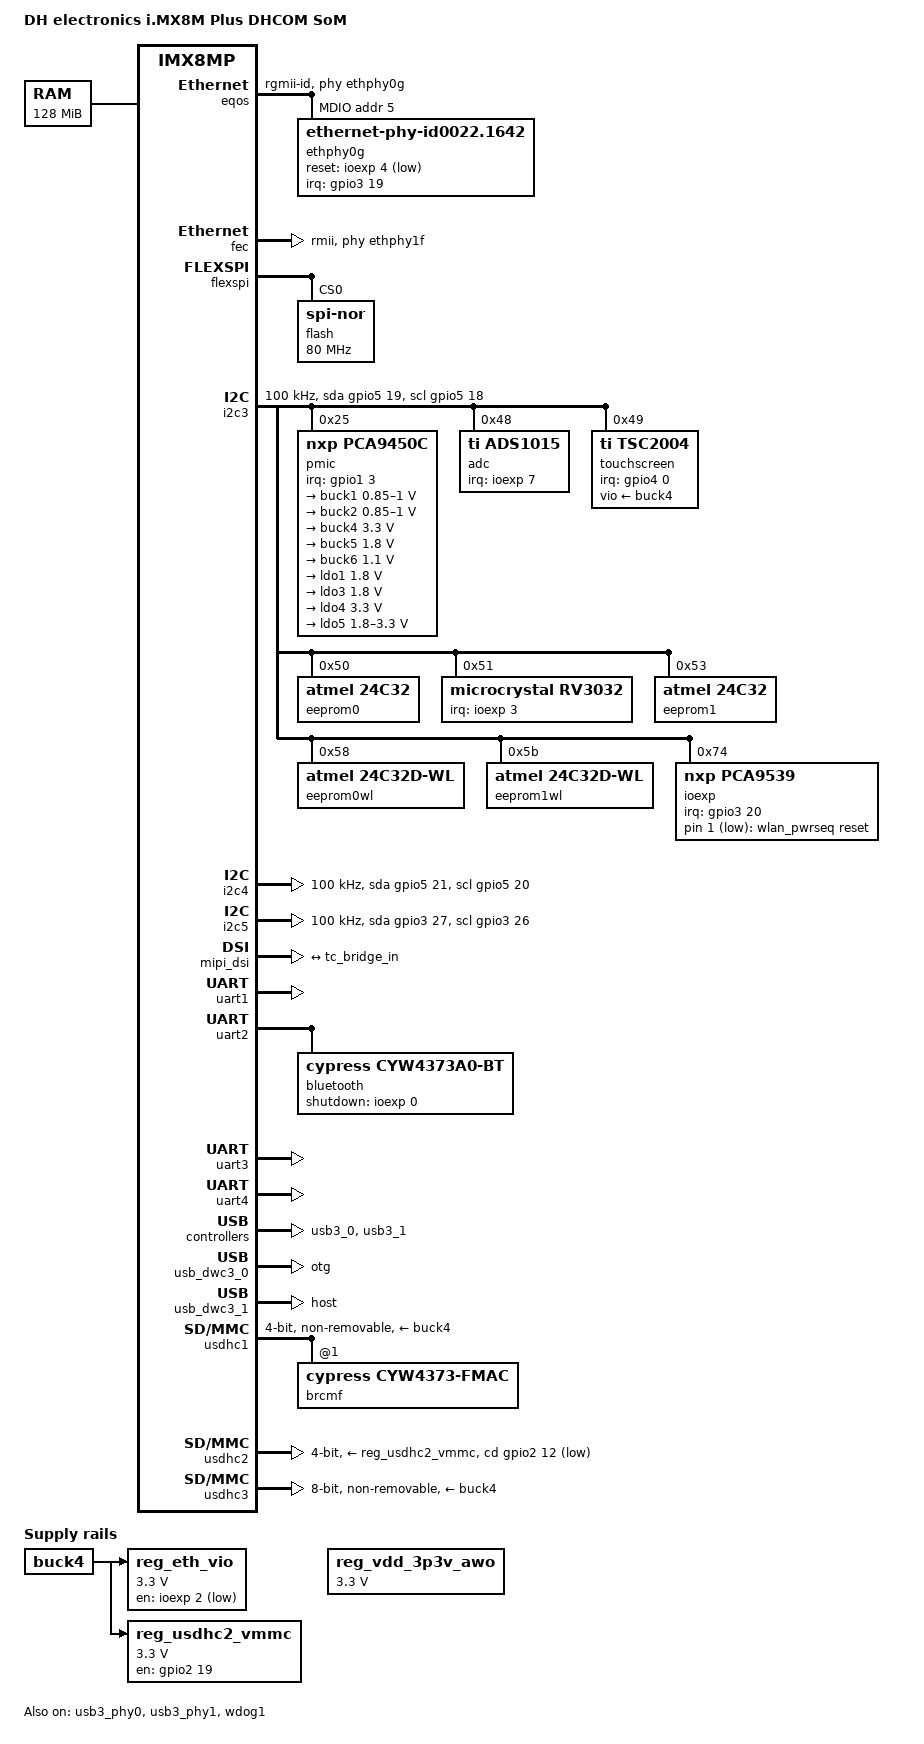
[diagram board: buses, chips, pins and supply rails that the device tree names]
// SPDX-License-Identifier: GPL-2.0
/*
 * Copyright (C) 2021-2022 Marek Vasut <marex@denx.de>
 */

#include "imx8mp.dtsi"

/ {
	model = "DH electronics i.MX8M Plus DHCOM SoM";
	compatible = "dh,imx8mp-dhcom-som", "fsl,imx8mp";

	aliases {
		ethernet0 = &eqos;
		ethernet1 = &fec;
		rtc0 = &rv3032;
		rtc1 = &snvs_rtc;
		spi0 = &flexspi;
	};

	memory@40000000 {
		device_type = "memory";
		/* Memory size 512 MiB..8 GiB will be filled by U-Boot */
		reg = <0x0 0x40000000 0 0x08000000>;
	};

	reg_eth_vio: regulator-eth-vio {
		compatible = "regulator-fixed";
		gpio = <&ioexp 2 GPIO_ACTIVE_LOW>;
		regulator-always-on;
		regulator-boot-on;
		regulator-min-microvolt = <3300000>;
		regulator-max-microvolt = <3300000>;
		regulator-name = "eth_vio";
		vin-supply = <&buck4>;
	};

	reg_usdhc2_vmmc: regulator-usdhc2-vmmc {
		compatible = "regulator-fixed";
		enable-active-high;
		gpio = <&gpio2 19 0>; /* SD2_RESET */
		off-on-delay-us = <12000>;
		pinctrl-names = "default";
		pinctrl-0 = <&pinctrl_usdhc2_vmmc>;
		regulator-max-microvolt = <3300000>;
		regulator-min-microvolt = <3300000>;
		regulator-name = "VDD_3V3_SD";
		startup-delay-us = <100>;
		vin-supply = <&buck4>;
	};

	reg_vdd_3p3v_awo: regulator-vdd-3p3v-awo {	/* VDD_3V3_AWO */
		compatible = "regulator-fixed";
		regulator-always-on;
		regulator-min-microvolt = <3300000>;
		regulator-max-microvolt = <3300000>;
		regulator-name = "VDD_3P3V_AWO";
	};

	wlan_pwrseq: wifi-pwrseq {
		compatible = "mmc-pwrseq-simple";
		reset-gpios = <&ioexp 1 GPIO_ACTIVE_LOW>;
	};
};

&A53_0 {
	cpu-supply = <&buck2>;
};

&A53_1 {
	cpu-supply = <&buck2>;
};

&A53_2 {
	cpu-supply = <&buck2>;
};

&A53_3 {
	cpu-supply = <&buck2>;
};

&ecspi1 {
	pinctrl-names = "default";
	pinctrl-0 = <&pinctrl_ecspi1>;
	cs-gpios = <&gpio5 17 GPIO_ACTIVE_LOW>;
	status = "disabled";
};

&ecspi2 {
	pinctrl-names = "default";
	pinctrl-0 = <&pinctrl_ecspi2>;
	cs-gpios = <&gpio5 13 GPIO_ACTIVE_LOW>;
	status = "disabled";
};

&eqos {	/* First ethernet */
	pinctrl-names = "default";
	pinctrl-0 = <&pinctrl_eqos_rgmii>;
	phy-handle = <&ethphy0g>;
	phy-mode = "rgmii-id";
	status = "okay";

	mdio {
		compatible = "snps,dwmac-mdio";
		#address-cells = <1>;
		#size-cells = <0>;

		/* Up to one of these two PHYs may be populated. */
		ethphy0f: ethernet-phy@0 { /* SMSC LAN8740Ai */
			compatible = "ethernet-phy-id0007.c110",
				     "ethernet-phy-ieee802.3-c22";
			interrupt-parent = <&gpio3>;
			interrupts = <19 IRQ_TYPE_LEVEL_LOW>;
			pinctrl-0 = <&pinctrl_ethphy0>;
			pinctrl-names = "default";
			reg = <0>;
			reset-assert-us = <1000>;
			reset-deassert-us = <1000>;
			reset-gpios = <&ioexp 4 GPIO_ACTIVE_LOW>;
			/* Non-default PHY population option. */
			status = "disabled";
		};

		ethphy0g: ethernet-phy@5 { /* Micrel KSZ9131RNXI */
			compatible = "ethernet-phy-id0022.1642",
				     "ethernet-phy-ieee802.3-c22";
			interrupt-parent = <&gpio3>;
			interrupts = <19 IRQ_TYPE_LEVEL_LOW>;
			micrel,led-mode = <0>;
			pinctrl-0 = <&pinctrl_ethphy0>;
			pinctrl-names = "default";
			reg = <5>;
			reset-assert-us = <1000>;
			reset-deassert-us = <1000>;
			reset-gpios = <&ioexp 4 GPIO_ACTIVE_LOW>;
			/* Default PHY population option. */
			status = "okay";
		};
	};
};

&fec {	/* Second ethernet */
	pinctrl-names = "default";
	pinctrl-0 = <&pinctrl_fec_rmii>;
	phy-handle = <&ethphy1f>;
	phy-mode = "rmii";
	fsl,magic-packet;
	status = "okay";

	mdio {
		#address-cells = <1>;
		#size-cells = <0>;

		/* Up to one PHY may be populated. */
		ethphy1f: ethernet-phy@1 { /* SMSC LAN8740Ai */
			compatible = "ethernet-phy-id0007.c110",
				     "ethernet-phy-ieee802.3-c22";
			interrupt-parent = <&gpio4>;
			interrupts = <3 IRQ_TYPE_LEVEL_LOW>;
			pinctrl-0 = <&pinctrl_ethphy1>;
			pinctrl-names = "default";
			reg = <1>;
			reset-assert-us = <1000>;
			reset-deassert-us = <1000>;
			reset-gpios = <&gpio4 2 GPIO_ACTIVE_LOW>;
			/* Non-default PHY population option. */
			status = "disabled";
		};
	};
};

&flexcan1 {
	pinctrl-names = "default";
	pinctrl-0 = <&pinctrl_flexcan1>;
	status = "disabled";
};

&flexcan2 {
	pinctrl-names = "default";
	pinctrl-0 = <&pinctrl_flexcan2>;
	status = "disabled";
};

&flexspi {
	pinctrl-names = "default";
	pinctrl-0 = <&pinctrl_flexspi>;
	status = "okay";

	flash@0 {	/* W25Q128JWPIM */
		compatible = "jedec,spi-nor";
		reg = <0>;
		spi-max-frequency = <80000000>;
		spi-tx-bus-width = <4>;
		spi-rx-bus-width = <4>;
	};
};

&gpio1 {
	gpio-line-names =
		"DHCOM-G", "", "", "", "", "DHCOM-I", "DHCOM-J", "DHCOM-L",
		"DHCOM-B", "DHCOM-A", "", "DHCOM-H", "", "", "", "",
		"", "", "", "", "", "", "", "",
		"", "", "", "", "", "", "", "";
};

&gpio2 {
	gpio-line-names =
		"", "", "", "", "", "", "", "",
		"", "", "", "DHCOM-K", "", "", "", "",
		"", "", "", "", "DHCOM-INT", "", "", "",
		"", "", "", "", "", "", "", "";
};

&gpio3 {
	gpio-line-names =
		"", "", "", "", "", "", "", "",
		"", "", "", "", "", "", "SOM-HW0", "",
		"", "", "", "", "", "", "SOM-MEM0", "SOM-MEM1",
		"SOM-MEM2", "SOM-HW2", "", "", "", "", "", "";
};

&gpio4 {
	gpio-line-names =
		"", "", "", "", "", "", "", "",
		"", "", "", "", "", "", "", "",
		"", "", "", "SOM-HW1", "", "", "", "",
		"", "", "", "DHCOM-D", "", "", "", "";
};

&gpio5 {
	gpio-line-names =
		"", "", "DHCOM-C", "", "", "", "", "",
		"", "", "", "", "", "", "", "",
		"", "", "", "", "", "", "DHCOM-E", "DHCOM-F",
		"", "", "", "", "", "", "", "";
};

&i2c3 {
	clock-frequency = <100000>;
	pinctrl-names = "default", "gpio";
	pinctrl-0 = <&pinctrl_i2c3>;
	pinctrl-1 = <&pinctrl_i2c3_gpio>;
	scl-gpios = <&gpio5 18 (GPIO_ACTIVE_HIGH | GPIO_OPEN_DRAIN)>;
	sda-gpios = <&gpio5 19 (GPIO_ACTIVE_HIGH | GPIO_OPEN_DRAIN)>;
	status = "okay";

	tc_bridge: bridge@f {
		compatible = "toshiba,tc9595", "toshiba,tc358767";
		pinctrl-names = "default";
		pinctrl-0 = <&pinctrl_tc9595>;
		reg = <0xf>;
		clock-names = "ref";
		clocks = <&clk IMX8MP_CLK_CLKOUT2>;
		assigned-clocks = <&clk IMX8MP_CLK_CLKOUT2_SEL>,
				  <&clk IMX8MP_CLK_CLKOUT2>,
				  <&clk IMX8MP_AUDIO_PLL2_OUT>;
		assigned-clock-parents = <&clk IMX8MP_AUDIO_PLL2_OUT>;
		assigned-clock-rates = <13000000>, <13000000>, <156000000>;
		reset-gpios = <&gpio3 21 GPIO_ACTIVE_HIGH>;
		status = "disabled";

		ports {
			#address-cells = <1>;
			#size-cells = <0>;

			port@0 {
				reg = <0>;

				tc_bridge_in: endpoint {
					data-lanes = <1 2 3 4>;
					remote-endpoint = <&dsi_out>;
				};
			};
		};
	};

	pmic: pmic@25 {
		compatible = "nxp,pca9450c";
		reg = <0x25>;
		pinctrl-names = "default";
		pinctrl-0 = <&pinctrl_pmic>;
		interrupt-parent = <&gpio1>;
		interrupts = <3 IRQ_TYPE_LEVEL_LOW>;

		/*
		 * i.MX 8M Plus Data Sheet for Consumer Products
		 * 3.1.4 Operating ranges
		 * MIMX8ML8CVNKZAB
		 */
		regulators {
			buck1: BUCK1 {	/* VDD_SOC (dual-phase with BUCK3) */
				regulator-min-microvolt = <850000>;
				regulator-max-microvolt = <1000000>;
				regulator-ramp-delay = <3125>;
				regulator-always-on;
				regulator-boot-on;
			};

			buck2: BUCK2 {	/* VDD_ARM */
				nxp,dvs-run-voltage = <950000>;
				nxp,dvs-standby-voltage = <850000>;
				regulator-min-microvolt = <850000>;
				regulator-max-microvolt = <1000000>;
				regulator-ramp-delay = <3125>;
				regulator-always-on;
				regulator-boot-on;
			};

			buck4: BUCK4 {	/* VDD_3V3 */
				regulator-min-microvolt = <3300000>;
				regulator-max-microvolt = <3300000>;
				regulator-always-on;
				regulator-boot-on;
			};

			buck5: BUCK5 {	/* VDD_1V8 */
				regulator-min-microvolt = <1800000>;
				regulator-max-microvolt = <1800000>;
				regulator-always-on;
				regulator-boot-on;
			};

			buck6: BUCK6 {	/* NVCC_DRAM_1V1 */
				regulator-min-microvolt = <1100000>;
				regulator-max-microvolt = <1100000>;
				regulator-always-on;
				regulator-boot-on;
			};

			ldo1: LDO1 {	/* NVCC_SNVS_1V8 */
				regulator-min-microvolt = <1800000>;
				regulator-max-microvolt = <1800000>;
				regulator-always-on;
				regulator-boot-on;
			};

			ldo3: LDO3 {	/* VDDA_1V8 */
				regulator-min-microvolt = <1800000>;
				regulator-max-microvolt = <1800000>;
				regulator-always-on;
				regulator-boot-on;
			};

			ldo4: LDO4 {	/* PMIC_LDO4 */
				regulator-min-microvolt = <3300000>;
				regulator-max-microvolt = <3300000>;
			};

			ldo5: LDO5 {	/* NVCC_SD2 */
				regulator-min-microvolt = <1800000>;
				regulator-max-microvolt = <3300000>;
			};
		};
	};

	adc@48 {
		compatible = "ti,ads1015";
		reg = <0x48>;
		interrupts-extended = <&ioexp 7 IRQ_TYPE_EDGE_FALLING>;
		#address-cells = <1>;
		#size-cells = <0>;

		channel@0 {	/* Voltage over AIN0 and AIN1. */
			reg = <0>;
		};

		channel@1 {	/* Voltage over AIN0 and AIN3. */
			reg = <1>;
		};

		channel@2 {	/* Voltage over AIN1 and AIN3. */
			reg = <2>;
		};

		channel@3 {	/* Voltage over AIN2 and AIN3. */
			reg = <3>;
		};

		channel@4 {	/* Voltage over AIN0 and GND. */
			reg = <4>;
		};

		channel@5 {	/* Voltage over AIN1 and GND. */
			reg = <5>;
		};

		channel@6 {	/* Voltage over AIN2 and GND. */
			reg = <6>;
		};

		channel@7 {	/* Voltage over AIN3 and GND. */
			reg = <7>;
		};
	};

	touchscreen@49 {
		compatible = "ti,tsc2004";
		reg = <0x49>;
		interrupts-extended = <&gpio4 0 IRQ_TYPE_EDGE_FALLING>;
		pinctrl-names = "default";
		pinctrl-0 = <&pinctrl_touch>;
		vio-supply = <&buck4>;
	};

	eeprom0: eeprom@50 {	/* EEPROM with EQoS MAC address */
		compatible = "atmel,24c32";	/* M24C32-D */
		pagesize = <32>;
		reg = <0x50>;
	};

	rv3032: rtc@51 {
		compatible = "microcrystal,rv3032";
		reg = <0x51>;
		interrupts-extended = <&ioexp 3 IRQ_TYPE_EDGE_FALLING>;
		wakeup-source;
	};

	eeprom1: eeprom@53 {	/* EEPROM with FEC MAC address */
		compatible = "atmel,24c32";	/* M24C32-D */
		pagesize = <32>;
		reg = <0x53>;
	};

	eeprom0wl: eeprom@58 {
		compatible = "atmel,24c32d-wl";	/* M24C32-D WL page of 0x50 */
		pagesize = <32>;
		reg = <0x58>;
	};

	eeprom1wl: eeprom@5b {
		compatible = "atmel,24c32d-wl";	/* M24C32-D WL page of 0x53 */
		pagesize = <32>;
		reg = <0x5b>;
	};

	ioexp: gpio@74 {
		compatible = "nxp,pca9539";
		reg = <0x74>;
		gpio-controller;
		#gpio-cells = <2>;
		interrupts-extended = <&gpio3 20 IRQ_TYPE_LEVEL_LOW>;
		interrupt-controller;
		#interrupt-cells = <2>;
		pinctrl-names = "default";
		pinctrl-0 = <&pinctrl_ioexp>;
		wakeup-source;

		gpio-line-names =
			"BT_REG_EN", "WL_REG_EN", "VIO_SWITCHED_#EN", "RTC_#INT",
			"ENET_QOS_#RST", "RGB_OSZ_ENABLE", "USB1_ID", "ADC_ALTER_RDY",
			"DHCOM-W", "DHCOM-V", "DHCOM-U", "DHCOM-T",
			"BT_HOST_WAKE", "BT_DEV_WAKE", "", "";
	};
};

&i2c4 {
	clock-frequency = <100000>;
	pinctrl-names = "default", "gpio";
	pinctrl-0 = <&pinctrl_i2c4>;
	pinctrl-1 = <&pinctrl_i2c4_gpio>;
	scl-gpios = <&gpio5 20 (GPIO_ACTIVE_HIGH | GPIO_OPEN_DRAIN)>;
	sda-gpios = <&gpio5 21 (GPIO_ACTIVE_HIGH | GPIO_OPEN_DRAIN)>;
	status = "okay";
};

&i2c5 {	/* HDMI EDID bus */
	clock-frequency = <100000>;
	pinctrl-names = "default", "gpio";
	pinctrl-0 = <&pinctrl_i2c5>;
	pinctrl-1 = <&pinctrl_i2c5_gpio>;
	scl-gpios = <&gpio3 26 (GPIO_ACTIVE_HIGH | GPIO_OPEN_DRAIN)>;
	sda-gpios = <&gpio3 27 (GPIO_ACTIVE_HIGH | GPIO_OPEN_DRAIN)>;
	status = "okay";
};

&mipi_dsi {
	samsung,burst-clock-frequency = <160000000>;
	samsung,esc-clock-frequency = <10000000>;

	ports {
		port@1 {
			reg = <1>;

			dsi_out: endpoint {
				data-lanes = <1 2 3 4>;
				remote-endpoint = <&tc_bridge_in>;
			};
		};
	};
};

&pwm1 {
	pinctrl-0 = <&pinctrl_pwm1>;
	pinctrl-names = "default";
	status = "disabled";
};

&uart1 {
	/* CA53 console */
	pinctrl-names = "default";
	pinctrl-0 = <&pinctrl_uart1>;
	status = "okay";
	wakeup-source;
};

&uart2 {
	/* Bluetooth */
	pinctrl-names = "default";
	pinctrl-0 = <&pinctrl_uart2>;
	uart-has-rtscts;
	status = "okay";

	/*
	 * PLL1 at 80 MHz supplies UART2 root with 80 MHz clock,
	 * which with 16x oversampling yields 5 Mbdps baud base,
	 * which can be well divided by 5/4 to achieve 4 Mbdps,
	 * which is exactly the maximum rate supported by muRata
	 * 2AE bluetooth UART.
	 */
	assigned-clocks = <&clk IMX8MP_CLK_UART2>;
	assigned-clock-parents = <&clk IMX8MP_SYS_PLL1_80M>;
	assigned-clock-rates = <80000000>;

	bluetooth {
		compatible = "cypress,cyw4373a0-bt";
		shutdown-gpios = <&ioexp 0 GPIO_ACTIVE_HIGH>;
		max-speed = <4000000>;
	};
};

&uart3 {
	pinctrl-names = "default";
	pinctrl-0 = <&pinctrl_uart3>;
	uart-has-rtscts;
	status = "okay";
};

&uart4 {
	pinctrl-names = "default";
	pinctrl-0 = <&pinctrl_uart4>;
	status = "okay";
};

&usb3_phy0 {
	status = "okay";
};

&usb3_0 {
	status = "okay";
};

&usb_dwc3_0 {
	dr_mode = "otg";
	status = "okay";
};

&usb3_phy1 {
	status = "okay";
};

&usb3_1 {
	status = "okay";
};

&usb_dwc3_1 {
	pinctrl-names = "default";
	pinctrl-0 = <&pinctrl_usb1_vbus>;
	dr_mode = "host";
	status = "okay";
};

/* SDIO WiFi */
&usdhc1 {
	pinctrl-names = "default", "state_100mhz", "state_200mhz";
	pinctrl-0 = <&pinctrl_usdhc1>;
	pinctrl-1 = <&pinctrl_usdhc1_100mhz>;
	pinctrl-2 = <&pinctrl_usdhc1_200mhz>;
	mmc-pwrseq = <&wlan_pwrseq>;
	vmmc-supply = <&buck4>;
	bus-width = <4>;
	non-removable;
	cap-power-off-card;
	keep-power-in-suspend;
	status = "okay";

	#address-cells = <1>;
	#size-cells = <0>;

	brcmf: bcrmf@1 {	/* muRata 2AE */
		reg = <1>;
		compatible = "cypress,cyw4373-fmac", "brcm,bcm4329-fmac";
		/*
		 * The "host-wake" interrupt output is by default not
		 * connected to the SoC, but can be connected on to
		 * SoC pin on the carrier board.
		 */
	};
};

/* SD slot */
&usdhc2 {
	pinctrl-names = "default", "state_100mhz", "state_200mhz";
	pinctrl-0 = <&pinctrl_usdhc2>, <&pinctrl_usdhc2_gpio>;
	pinctrl-1 = <&pinctrl_usdhc2_100mhz>, <&pinctrl_usdhc2_gpio>;
	pinctrl-2 = <&pinctrl_usdhc2_200mhz>, <&pinctrl_usdhc2_gpio>;
	cd-gpios = <&gpio2 12 GPIO_ACTIVE_LOW>;
	vmmc-supply = <&reg_usdhc2_vmmc>;
	bus-width = <4>;
	status = "okay";
};

/* eMMC */
&usdhc3 {
	pinctrl-names = "default", "state_100mhz", "state_200mhz";
	pinctrl-0 = <&pinctrl_usdhc3>;
	pinctrl-1 = <&pinctrl_usdhc3_100mhz>;
	pinctrl-2 = <&pinctrl_usdhc3_200mhz>;
	vmmc-supply = <&buck4>;
	vqmmc-supply = <&buck5>;
	bus-width = <8>;
	non-removable;
	status = "okay";
};

&wdog1 {
	pinctrl-names = "default";
	pinctrl-0 = <&pinctrl_wdog>;
	fsl,ext-reset-output;
	status = "okay";
};

&iomuxc {
	pinctrl-0 = <&pinctrl_hog_base
		     &pinctrl_dhcom_a &pinctrl_dhcom_b &pinctrl_dhcom_c
		     &pinctrl_dhcom_d &pinctrl_dhcom_e &pinctrl_dhcom_f
		     &pinctrl_dhcom_g &pinctrl_dhcom_h &pinctrl_dhcom_i
		     &pinctrl_dhcom_j &pinctrl_dhcom_k &pinctrl_dhcom_l
		     &pinctrl_dhcom_m &pinctrl_dhcom_n &pinctrl_dhcom_o
		     &pinctrl_dhcom_p &pinctrl_dhcom_q &pinctrl_dhcom_r
		     &pinctrl_dhcom_s &pinctrl_dhcom_int>;
	pinctrl-names = "default";

	pinctrl_dhcom_a: dhcom-a-grp {
		fsl,pins = <
			/* ENET_QOS_EVENT0-OUT */
			MX8MP_IOMUXC_GPIO1_IO09__GPIO1_IO09		0x2
		>;
	};

	pinctrl_dhcom_b: dhcom-b-grp {
		fsl,pins = <
			/* ENET_QOS_EVENT0-IN */
			MX8MP_IOMUXC_GPIO1_IO08__GPIO1_IO08		0x2
		>;
	};

	pinctrl_dhcom_c: dhcom-c-grp {
		fsl,pins = <
			/* GPIO_C */
			MX8MP_IOMUXC_SAI3_MCLK__GPIO5_IO02		0x2
		>;
	};

	pinctrl_dhcom_d: dhcom-d-grp {
		fsl,pins = <
			/* GPIO_D */
			MX8MP_IOMUXC_SAI2_MCLK__GPIO4_IO27		0x2
		>;
	};

	pinctrl_dhcom_e: dhcom-e-grp {
		fsl,pins = <
			/* GPIO_E */
			MX8MP_IOMUXC_UART1_RXD__GPIO5_IO22		0x2
		>;
	};

	pinctrl_dhcom_f: dhcom-f-grp {
		fsl,pins = <
			/* GPIO_F */
			MX8MP_IOMUXC_UART1_TXD__GPIO5_IO23		0x2
		>;
	};

	pinctrl_dhcom_g: dhcom-g-grp {
		fsl,pins = <
			/* GPIO_G */
			MX8MP_IOMUXC_GPIO1_IO00__GPIO1_IO00		0x2
		>;
	};

	pinctrl_dhcom_h: dhcom-h-grp {
		fsl,pins = <
			/* GPIO_H */
			MX8MP_IOMUXC_GPIO1_IO11__GPIO1_IO11		0x2
		>;
	};

	pinctrl_dhcom_i: dhcom-i-grp {
		fsl,pins = <
			/* CSI1_SYNC */
			MX8MP_IOMUXC_GPIO1_IO05__GPIO1_IO05		0x2
		>;
	};

	pinctrl_dhcom_j: dhcom-j-grp {
		fsl,pins = <
			/* CSIx_#RST */
			MX8MP_IOMUXC_GPIO1_IO06__GPIO1_IO06		0x2
		>;
	};

	pinctrl_dhcom_k: dhcom-k-grp {
		fsl,pins = <
			/* CSIx_PWDN */
			MX8MP_IOMUXC_SD1_STROBE__GPIO2_IO11		0x2
		>;
	};

	pinctrl_dhcom_l: dhcom-l-grp {
		fsl,pins = <
			/* CSI2_SYNC */
			MX8MP_IOMUXC_GPIO1_IO07__GPIO1_IO07		0x2
		>;
	};

	pinctrl_dhcom_m: dhcom-m-grp {
		fsl,pins = <
			/* CSIx_MCLK */
			MX8MP_IOMUXC_SPDIF_EXT_CLK__GPIO5_IO05		0x2
		>;
	};

	pinctrl_dhcom_n: dhcom-n-grp {
		fsl,pins = <
			/* CSI2_D3- */
			MX8MP_IOMUXC_SD1_DATA7__GPIO2_IO09		0x2
		>;
	};

	pinctrl_dhcom_o: dhcom-o-grp {
		fsl,pins = <
			/* CSI2_D3+ */
			MX8MP_IOMUXC_SD1_DATA6__GPIO2_IO08		0x2
		>;
	};

	pinctrl_dhcom_p: dhcom-p-grp {
		fsl,pins = <
			/* CSI2_D2- */
			MX8MP_IOMUXC_SD1_RESET_B__GPIO2_IO10		0x2
		>;
	};

	pinctrl_dhcom_q: dhcom-q-grp {
		fsl,pins = <
			/* CSI2_D2+ */
			MX8MP_IOMUXC_GPIO1_IO13__GPIO1_IO13		0x2
		>;
	};

	pinctrl_dhcom_r: dhcom-r-grp {
		fsl,pins = <
			/* CSI2_D1- */
			MX8MP_IOMUXC_GPIO1_IO12__GPIO1_IO12		0x2
		>;
	};

	pinctrl_dhcom_s: dhcom-s-grp {
		fsl,pins = <
			/* CSI2_D1+ */
			MX8MP_IOMUXC_GPIO1_IO10__GPIO1_IO10		0x2
		>;
	};

	pinctrl_dhcom_int: dhcom-int-grp {
		fsl,pins = <
			/* INT_HIGHEST_PRIO */
			MX8MP_IOMUXC_SD2_WP__GPIO2_IO20			0x2
		>;
	};

	pinctrl_hog_base: dhcom-hog-base-grp {
		fsl,pins = <
			/* GPIOs for memory coding */
			MX8MP_IOMUXC_SAI5_RXD1__GPIO3_IO22		0x40000080
			MX8MP_IOMUXC_SAI5_RXD2__GPIO3_IO23		0x40000080
			MX8MP_IOMUXC_SAI5_RXD3__GPIO3_IO24		0x40000080
			/* GPIOs for hardware coding */
			MX8MP_IOMUXC_NAND_DQS__GPIO3_IO14		0x40000080
			MX8MP_IOMUXC_SAI1_TXD7__GPIO4_IO19		0x40000080
			MX8MP_IOMUXC_SAI5_MCLK__GPIO3_IO25		0x40000080
		>;
	};

	pinctrl_ecspi1: dhcom-ecspi1-grp {
		fsl,pins = <
			MX8MP_IOMUXC_I2C1_SCL__ECSPI1_SCLK		0x44
			MX8MP_IOMUXC_I2C1_SDA__ECSPI1_MOSI		0x44
			MX8MP_IOMUXC_I2C2_SCL__ECSPI1_MISO		0x44
			MX8MP_IOMUXC_I2C2_SDA__GPIO5_IO17		0x40
		>;
	};

	pinctrl_ecspi2: dhcom-ecspi2-grp {
		fsl,pins = <
			MX8MP_IOMUXC_ECSPI2_SCLK__ECSPI2_SCLK		0x44
			MX8MP_IOMUXC_ECSPI2_MOSI__ECSPI2_MOSI		0x44
			MX8MP_IOMUXC_ECSPI2_MISO__ECSPI2_MISO		0x44
			MX8MP_IOMUXC_ECSPI2_SS0__GPIO5_IO13		0x40
		>;
	};

	pinctrl_eqos_rgmii: dhcom-eqos-rgmii-grp {	/* RGMII */
		fsl,pins = <
			MX8MP_IOMUXC_ENET_MDC__ENET_QOS_MDC		0x3
			MX8MP_IOMUXC_ENET_MDIO__ENET_QOS_MDIO		0x3
			MX8MP_IOMUXC_ENET_TX_CTL__ENET_QOS_RGMII_TX_CTL	0x1f
			MX8MP_IOMUXC_ENET_TXC__CCM_ENET_QOS_CLOCK_GENERATE_TX_CLK	0x1f
			MX8MP_IOMUXC_ENET_TD0__ENET_QOS_RGMII_TD0	0x1f
			MX8MP_IOMUXC_ENET_TD1__ENET_QOS_RGMII_TD1	0x1f
			MX8MP_IOMUXC_ENET_TD2__ENET_QOS_RGMII_TD2	0x1f
			MX8MP_IOMUXC_ENET_TD3__ENET_QOS_RGMII_TD3	0x1f
			MX8MP_IOMUXC_ENET_RXC__CCM_ENET_QOS_CLOCK_GENERATE_RX_CLK	0x91
			MX8MP_IOMUXC_ENET_RX_CTL__ENET_QOS_RGMII_RX_CTL	0x91
			MX8MP_IOMUXC_ENET_RD0__ENET_QOS_RGMII_RD0	0x91
			MX8MP_IOMUXC_ENET_RD1__ENET_QOS_RGMII_RD1	0x91
			MX8MP_IOMUXC_ENET_RD2__ENET_QOS_RGMII_RD2	0x91
			MX8MP_IOMUXC_ENET_RD3__ENET_QOS_RGMII_RD3	0x91
		>;
	};

	pinctrl_eqos_rmii: dhcom-eqos-rmii-grp {	/* RMII */
		fsl,pins = <
			MX8MP_IOMUXC_ENET_MDC__ENET_QOS_MDC		0x3
			MX8MP_IOMUXC_ENET_MDIO__ENET_QOS_MDIO		0x3
			MX8MP_IOMUXC_ENET_TX_CTL__ENET_QOS_RGMII_TX_CTL	0x1f
			MX8MP_IOMUXC_ENET_TD0__ENET_QOS_RGMII_TD0	0x1f
			MX8MP_IOMUXC_ENET_TD1__ENET_QOS_RGMII_TD1	0x1f
			MX8MP_IOMUXC_ENET_RXC__ENET_QOS_RX_ER		0x1f
			MX8MP_IOMUXC_ENET_RX_CTL__ENET_QOS_RGMII_RX_CTL	0x91
			MX8MP_IOMUXC_ENET_RD0__ENET_QOS_RGMII_RD0	0x91
			MX8MP_IOMUXC_ENET_RD1__ENET_QOS_RGMII_RD1	0x91
			/* Clock */
			MX8MP_IOMUXC_ENET_TD2__CCM_ENET_QOS_CLOCK_GENERATE_REF_CLK	0x4000001f
		>;
	};

	pinctrl_ethphy0: dhcom-ethphy0-grp {
		fsl,pins = <
			/* ENET_QOS_#INT Interrupt */
			MX8MP_IOMUXC_SAI5_RXFS__GPIO3_IO19		0x22
		>;
	};

	pinctrl_ethphy1: dhcom-ethphy1-grp {
		fsl,pins = <
			/* ENET1_#RST Reset */
			MX8MP_IOMUXC_SAI1_RXD0__GPIO4_IO02		0x11
			/* ENET1_#INT Interrupt */
			MX8MP_IOMUXC_SAI1_RXD1__GPIO4_IO03		0x11
		>;
	};

	pinctrl_fec_rgmii: dhcom-fec-rgmii-grp {	/* RGMII */
		fsl,pins = <
			MX8MP_IOMUXC_SAI1_MCLK__ENET1_TX_CLK		0x1f
			MX8MP_IOMUXC_SAI1_RXD2__ENET1_MDC		0x3
			MX8MP_IOMUXC_SAI1_RXD3__ENET1_MDIO		0x3
			MX8MP_IOMUXC_SAI1_RXD4__ENET1_RGMII_RD0		0x91
			MX8MP_IOMUXC_SAI1_RXD5__ENET1_RGMII_RD1		0x91
			MX8MP_IOMUXC_SAI1_RXD6__ENET1_RGMII_RD2		0x91
			MX8MP_IOMUXC_SAI1_RXD7__ENET1_RGMII_RD3		0x91
			MX8MP_IOMUXC_SAI1_TXC__ENET1_RGMII_RXC		0x91
			MX8MP_IOMUXC_SAI1_TXFS__ENET1_RGMII_RX_CTL	0x91
			MX8MP_IOMUXC_SAI1_TXD0__ENET1_RGMII_TD0		0x1f
			MX8MP_IOMUXC_SAI1_TXD1__ENET1_RGMII_TD1		0x1f
			MX8MP_IOMUXC_SAI1_TXD2__ENET1_RGMII_TD2		0x1f
			MX8MP_IOMUXC_SAI1_TXD3__ENET1_RGMII_TD3		0x1f
			MX8MP_IOMUXC_SAI1_TXD4__ENET1_RGMII_TX_CTL	0x1f
			MX8MP_IOMUXC_SAI1_TXD5__ENET1_RGMII_TXC		0x1f
			MX8MP_IOMUXC_SAI1_TXD6__ENET1_RX_ER		0x1f
		>;
	};

	pinctrl_fec_rmii: dhcom-fec-rmii-grp {	/* RMII */
		fsl,pins = <
			MX8MP_IOMUXC_SAI1_RXD2__ENET1_MDC		0x3
			MX8MP_IOMUXC_SAI1_RXD3__ENET1_MDIO		0x3
			MX8MP_IOMUXC_SAI1_RXD4__ENET1_RGMII_RD0		0x91
			MX8MP_IOMUXC_SAI1_RXD5__ENET1_RGMII_RD1		0x91
			MX8MP_IOMUXC_SAI1_TXFS__ENET1_RGMII_RX_CTL	0x91
			MX8MP_IOMUXC_SAI1_TXD6__ENET1_RX_ER		0x91
			MX8MP_IOMUXC_SAI1_TXD0__ENET1_RGMII_TD0		0x1f
			MX8MP_IOMUXC_SAI1_TXD1__ENET1_RGMII_TD1		0x1f
			MX8MP_IOMUXC_SAI1_TXD4__ENET1_RGMII_TX_CTL	0x1f
			/* Clock */
			MX8MP_IOMUXC_SAI1_MCLK__ENET1_TX_CLK		0x4000001f
		>;
	};

	pinctrl_flexcan1: dhcom-flexcan1-grp {
		fsl,pins = <
			MX8MP_IOMUXC_SPDIF_RX__CAN1_RX			0x154
			MX8MP_IOMUXC_SPDIF_TX__CAN1_TX			0x154
		>;
	};

	pinctrl_flexcan2: dhcom-flexcan2-grp {
		fsl,pins = <
			MX8MP_IOMUXC_UART3_RXD__CAN2_TX			0x154
			MX8MP_IOMUXC_UART3_TXD__CAN2_RX			0x154
		>;
	};

	pinctrl_flexspi: dhcom-flexspi-grp {
		fsl,pins = <
			MX8MP_IOMUXC_NAND_ALE__FLEXSPI_A_SCLK		0x1c2
			MX8MP_IOMUXC_NAND_CE0_B__FLEXSPI_A_SS0_B	0x82
			MX8MP_IOMUXC_NAND_DATA00__FLEXSPI_A_DATA00	0x82
			MX8MP_IOMUXC_NAND_DATA01__FLEXSPI_A_DATA01	0x82
			MX8MP_IOMUXC_NAND_DATA02__FLEXSPI_A_DATA02	0x82
			MX8MP_IOMUXC_NAND_DATA03__FLEXSPI_A_DATA03	0x82
		>;
	};

	pinctrl_hdmi: dhcom-hdmi-grp {
		fsl,pins = <
			MX8MP_IOMUXC_HDMI_CEC__HDMIMIX_HDMI_CEC		0x154
			MX8MP_IOMUXC_HDMI_HPD__HDMIMIX_HDMI_HPD		0x154
		>;
	};

	pinctrl_i2c3: dhcom-i2c3-grp {
		fsl,pins = <
			MX8MP_IOMUXC_I2C3_SCL__I2C3_SCL			0x40000084
			MX8MP_IOMUXC_I2C3_SDA__I2C3_SDA			0x40000084
		>;
	};

	pinctrl_i2c3_gpio: dhcom-i2c3-gpio-grp {
		fsl,pins = <
			MX8MP_IOMUXC_I2C3_SCL__GPIO5_IO18		0x84
			MX8MP_IOMUXC_I2C3_SDA__GPIO5_IO19		0x84
		>;
	};

	pinctrl_i2c4: dhcom-i2c4-grp {
		fsl,pins = <
			MX8MP_IOMUXC_I2C4_SCL__I2C4_SCL			0x40000084
			MX8MP_IOMUXC_I2C4_SDA__I2C4_SDA			0x40000084
		>;
	};

	pinctrl_i2c4_gpio: dhcom-i2c4-gpio-grp {
		fsl,pins = <
			MX8MP_IOMUXC_I2C4_SCL__GPIO5_IO20		0x84
			MX8MP_IOMUXC_I2C4_SDA__GPIO5_IO21		0x84
		>;
	};

	pinctrl_i2c5: dhcom-i2c5-grp {
		fsl,pins = <
			MX8MP_IOMUXC_HDMI_DDC_SCL__I2C5_SCL		0x40000084
			MX8MP_IOMUXC_HDMI_DDC_SDA__I2C5_SDA		0x40000084
		>;
	};

	pinctrl_i2c5_gpio: dhcom-i2c5-gpio-grp {
		fsl,pins = <
			MX8MP_IOMUXC_HDMI_DDC_SCL__GPIO3_IO26		0x84
			MX8MP_IOMUXC_HDMI_DDC_SDA__GPIO3_IO27		0x84
		>;
	};

	pinctrl_ioexp: dhcom-ioexp-grp {
		fsl,pins = <
			/* #GPIO_EXP_INT */
			MX8MP_IOMUXC_SAI5_RXC__GPIO3_IO20		0x22
		>;
	};

	pinctrl_pmic: dhcom-pmic-grp {
		fsl,pins = <
			/* PMIC_nINT */
			MX8MP_IOMUXC_GPIO1_IO03__GPIO1_IO03		0x40000090
		>;
	};

	pinctrl_pwm1: dhcom-pwm1-grp {
		fsl,pins = <
			MX8MP_IOMUXC_GPIO1_IO01__PWM1_OUT		0x6
		>;
	};

	pinctrl_tc9595: dhcom-tc9595-grp {
		fsl,pins = <
			/* RESET_DSIBRIDGE */
			MX8MP_IOMUXC_SAI1_RXC__GPIO4_IO01		0x40000146
			/* DSI-CONV_INT Interrupt */
			MX8MP_IOMUXC_SAI5_RXD0__GPIO3_IO21		0x141
		>;
	};

	pinctrl_sai3: dhcom-sai3-grp {
		fsl,pins = <
			MX8MP_IOMUXC_SAI3_TXFS__AUDIOMIX_SAI3_TX_SYNC	0xd6
			MX8MP_IOMUXC_SAI3_TXC__AUDIOMIX_SAI3_TX_BCLK	0xd6
			MX8MP_IOMUXC_SAI3_RXD__AUDIOMIX_SAI3_RX_DATA00	0xd6
			MX8MP_IOMUXC_SAI3_TXD__AUDIOMIX_SAI3_TX_DATA00	0xd6
		>;
	};

	pinctrl_touch: dhcom-touch-grp {
		fsl,pins = <
			/* #TOUCH_INT */
			MX8MP_IOMUXC_SAI1_RXFS__GPIO4_IO00		0x40000080
		>;
	};

	pinctrl_uart1: dhcom-uart1-grp {
		fsl,pins = <
			/* Console UART */
			MX8MP_IOMUXC_SAI2_RXC__UART1_DCE_RX		0x49
			MX8MP_IOMUXC_SAI2_RXFS__UART1_DCE_TX		0x49
			MX8MP_IOMUXC_SAI2_RXD0__UART1_DCE_RTS		0x49
			MX8MP_IOMUXC_SAI2_TXFS__UART1_DCE_CTS		0x49
		>;
	};

	pinctrl_uart2: dhcom-uart2-grp {
		fsl,pins = <
			/* Bluetooth UART */
			MX8MP_IOMUXC_UART2_RXD__UART2_DCE_RX		0x49
			MX8MP_IOMUXC_UART2_TXD__UART2_DCE_TX		0x49
			MX8MP_IOMUXC_SD1_DATA4__UART2_DCE_RTS		0x49
			MX8MP_IOMUXC_SD1_DATA5__UART2_DCE_CTS		0x49
		>;
	};

	pinctrl_uart3: dhcom-uart3-grp {
		fsl,pins = <
			MX8MP_IOMUXC_ECSPI1_SCLK__UART3_DCE_RX		0x49
			MX8MP_IOMUXC_ECSPI1_MOSI__UART3_DCE_TX		0x49
			MX8MP_IOMUXC_ECSPI1_SS0__UART3_DCE_RTS		0x49
			MX8MP_IOMUXC_ECSPI1_MISO__UART3_DCE_CTS		0x49
		>;
	};

	pinctrl_uart4: dhcom-uart4-grp {
		fsl,pins = <
			MX8MP_IOMUXC_UART4_RXD__UART4_DCE_RX		0x49
			MX8MP_IOMUXC_UART4_TXD__UART4_DCE_TX		0x49
		>;
	};

	pinctrl_usb1_vbus: dhcom-usb1-grp {
		fsl,pins = <
			MX8MP_IOMUXC_GPIO1_IO14__USB2_OTG_PWR		0x6
			MX8MP_IOMUXC_GPIO1_IO15__USB2_OTG_OC		0x80
		>;
	};

	pinctrl_usdhc1: dhcom-usdhc1-grp {
		fsl,pins = <
			MX8MP_IOMUXC_SD1_CLK__USDHC1_CLK		0x190
			MX8MP_IOMUXC_SD1_CMD__USDHC1_CMD		0x1d0
			MX8MP_IOMUXC_SD1_DATA0__USDHC1_DATA0		0x1d0
			MX8MP_IOMUXC_SD1_DATA1__USDHC1_DATA1		0x1d0
			MX8MP_IOMUXC_SD1_DATA2__USDHC1_DATA2		0x1d0
			MX8MP_IOMUXC_SD1_DATA3__USDHC1_DATA3		0x1d0
		>;
	};

	pinctrl_usdhc1_100mhz: dhcom-usdhc1-100mhz-grp {
		fsl,pins = <
			MX8MP_IOMUXC_SD1_CLK__USDHC1_CLK		0x194
			MX8MP_IOMUXC_SD1_CMD__USDHC1_CMD		0x1d4
			MX8MP_IOMUXC_SD1_DATA0__USDHC1_DATA0		0x1d4
			MX8MP_IOMUXC_SD1_DATA1__USDHC1_DATA1		0x1d4
			MX8MP_IOMUXC_SD1_DATA2__USDHC1_DATA2		0x1d4
			MX8MP_IOMUXC_SD1_DATA3__USDHC1_DATA3		0x1d4
		>;
	};

	pinctrl_usdhc1_200mhz: dhcom-usdhc1-200mhz-grp {
		fsl,pins = <
			MX8MP_IOMUXC_SD1_CLK__USDHC1_CLK		0x196
			MX8MP_IOMUXC_SD1_CMD__USDHC1_CMD		0x1d6
			MX8MP_IOMUXC_SD1_DATA0__USDHC1_DATA0		0x1d6
			MX8MP_IOMUXC_SD1_DATA1__USDHC1_DATA1		0x1d6
			MX8MP_IOMUXC_SD1_DATA2__USDHC1_DATA2		0x1d6
			MX8MP_IOMUXC_SD1_DATA3__USDHC1_DATA3		0x1d6
		>;
	};

	pinctrl_usdhc2: dhcom-usdhc2-grp {
		fsl,pins = <
			MX8MP_IOMUXC_SD2_CLK__USDHC2_CLK		0x190
			MX8MP_IOMUXC_SD2_CMD__USDHC2_CMD		0x1d0
			MX8MP_IOMUXC_SD2_DATA0__USDHC2_DATA0		0x1d0
			MX8MP_IOMUXC_SD2_DATA1__USDHC2_DATA1		0x1d0
			MX8MP_IOMUXC_SD2_DATA2__USDHC2_DATA2		0x1d0
			MX8MP_IOMUXC_SD2_DATA3__USDHC2_DATA3		0x1d0
			MX8MP_IOMUXC_GPIO1_IO04__USDHC2_VSELECT		0xc1
		>;
	};

	pinctrl_usdhc2_100mhz: dhcom-usdhc2-100mhz-grp {
		fsl,pins = <
			MX8MP_IOMUXC_SD2_CLK__USDHC2_CLK		0x194
			MX8MP_IOMUXC_SD2_CMD__USDHC2_CMD		0x1d4
			MX8MP_IOMUXC_SD2_DATA0__USDHC2_DATA0		0x1d4
			MX8MP_IOMUXC_SD2_DATA1__USDHC2_DATA1		0x1d4
			MX8MP_IOMUXC_SD2_DATA2__USDHC2_DATA2		0x1d4
			MX8MP_IOMUXC_SD2_DATA3__USDHC2_DATA3		0x1d4
			MX8MP_IOMUXC_GPIO1_IO04__USDHC2_VSELECT		0xc1
		>;
	};

	pinctrl_usdhc2_200mhz: dhcom-usdhc2-200mhz-grp {
		fsl,pins = <
			MX8MP_IOMUXC_SD2_CLK__USDHC2_CLK		0x196
			MX8MP_IOMUXC_SD2_CMD__USDHC2_CMD		0x1d6
			MX8MP_IOMUXC_SD2_DATA0__USDHC2_DATA0		0x1d6
			MX8MP_IOMUXC_SD2_DATA1__USDHC2_DATA1		0x1d6
			MX8MP_IOMUXC_SD2_DATA2__USDHC2_DATA2		0x1d6
			MX8MP_IOMUXC_SD2_DATA3__USDHC2_DATA3		0x1d6
			MX8MP_IOMUXC_GPIO1_IO04__USDHC2_VSELECT		0xc1
		>;
	};

	pinctrl_usdhc2_vmmc: dhcom-usdhc2-vmmc-grp {
		fsl,pins = <
			MX8MP_IOMUXC_SD2_RESET_B__GPIO2_IO19		0x20
		>;
	};

	pinctrl_usdhc2_gpio: dhcom-usdhc2-gpio-grp {
		fsl,pins = <
			MX8MP_IOMUXC_SD2_CD_B__GPIO2_IO12		0x40000080
		>;
	};

	pinctrl_usdhc3: dhcom-usdhc3-grp {
		fsl,pins = <
			MX8MP_IOMUXC_NAND_WE_B__USDHC3_CLK		0x190
			MX8MP_IOMUXC_NAND_WP_B__USDHC3_CMD		0x1d0
			MX8MP_IOMUXC_NAND_DATA04__USDHC3_DATA0		0x1d0
			MX8MP_IOMUXC_NAND_DATA05__USDHC3_DATA1		0x1d0
			MX8MP_IOMUXC_NAND_DATA06__USDHC3_DATA2		0x1d0
			MX8MP_IOMUXC_NAND_DATA07__USDHC3_DATA3		0x1d0
			MX8MP_IOMUXC_NAND_RE_B__USDHC3_DATA4		0x1d0
			MX8MP_IOMUXC_NAND_CE2_B__USDHC3_DATA5		0x1d0
			MX8MP_IOMUXC_NAND_CE3_B__USDHC3_DATA6		0x1d0
			MX8MP_IOMUXC_NAND_CLE__USDHC3_DATA7		0x1d0
			MX8MP_IOMUXC_NAND_CE1_B__USDHC3_STROBE		0x190
			MX8MP_IOMUXC_NAND_READY_B__USDHC3_RESET_B	0x141
		>;
	};

	pinctrl_usdhc3_100mhz: dhcom-usdhc3-100mhz-grp {
		fsl,pins = <
			MX8MP_IOMUXC_NAND_WE_B__USDHC3_CLK		0x194
			MX8MP_IOMUXC_NAND_WP_B__USDHC3_CMD		0x1d4
			MX8MP_IOMUXC_NAND_DATA04__USDHC3_DATA0		0x1d4
			MX8MP_IOMUXC_NAND_DATA05__USDHC3_DATA1		0x1d4
			MX8MP_IOMUXC_NAND_DATA06__USDHC3_DATA2		0x1d4
			MX8MP_IOMUXC_NAND_DATA07__USDHC3_DATA3		0x1d4
			MX8MP_IOMUXC_NAND_RE_B__USDHC3_DATA4		0x1d4
			MX8MP_IOMUXC_NAND_CE2_B__USDHC3_DATA5		0x1d4
			MX8MP_IOMUXC_NAND_CE3_B__USDHC3_DATA6		0x1d4
			MX8MP_IOMUXC_NAND_CLE__USDHC3_DATA7		0x1d4
			MX8MP_IOMUXC_NAND_CE1_B__USDHC3_STROBE		0x194
			MX8MP_IOMUXC_NAND_READY_B__USDHC3_RESET_B	0x141
		>;
	};

	pinctrl_usdhc3_200mhz: dhcom-usdhc3-200mhz-grp {
		fsl,pins = <
			MX8MP_IOMUXC_NAND_WE_B__USDHC3_CLK		0x196
			MX8MP_IOMUXC_NAND_WP_B__USDHC3_CMD		0x1d6
			MX8MP_IOMUXC_NAND_DATA04__USDHC3_DATA0		0x1d6
			MX8MP_IOMUXC_NAND_DATA05__USDHC3_DATA1		0x1d6
			MX8MP_IOMUXC_NAND_DATA06__USDHC3_DATA2		0x1d6
			MX8MP_IOMUXC_NAND_DATA07__USDHC3_DATA3		0x1d6
			MX8MP_IOMUXC_NAND_RE_B__USDHC3_DATA4		0x1d6
			MX8MP_IOMUXC_NAND_CE2_B__USDHC3_DATA5		0x1d6
			MX8MP_IOMUXC_NAND_CE3_B__USDHC3_DATA6		0x1d6
			MX8MP_IOMUXC_NAND_CLE__USDHC3_DATA7		0x1d6
			MX8MP_IOMUXC_NAND_CE1_B__USDHC3_STROBE		0x196
			MX8MP_IOMUXC_NAND_READY_B__USDHC3_RESET_B	0x141
		>;
	};

	pinctrl_wdog: dhcom-wdog-grp {
		fsl,pins = <
			MX8MP_IOMUXC_GPIO1_IO02__WDOG1_WDOG_B		0xc6
		>;
	};
};
